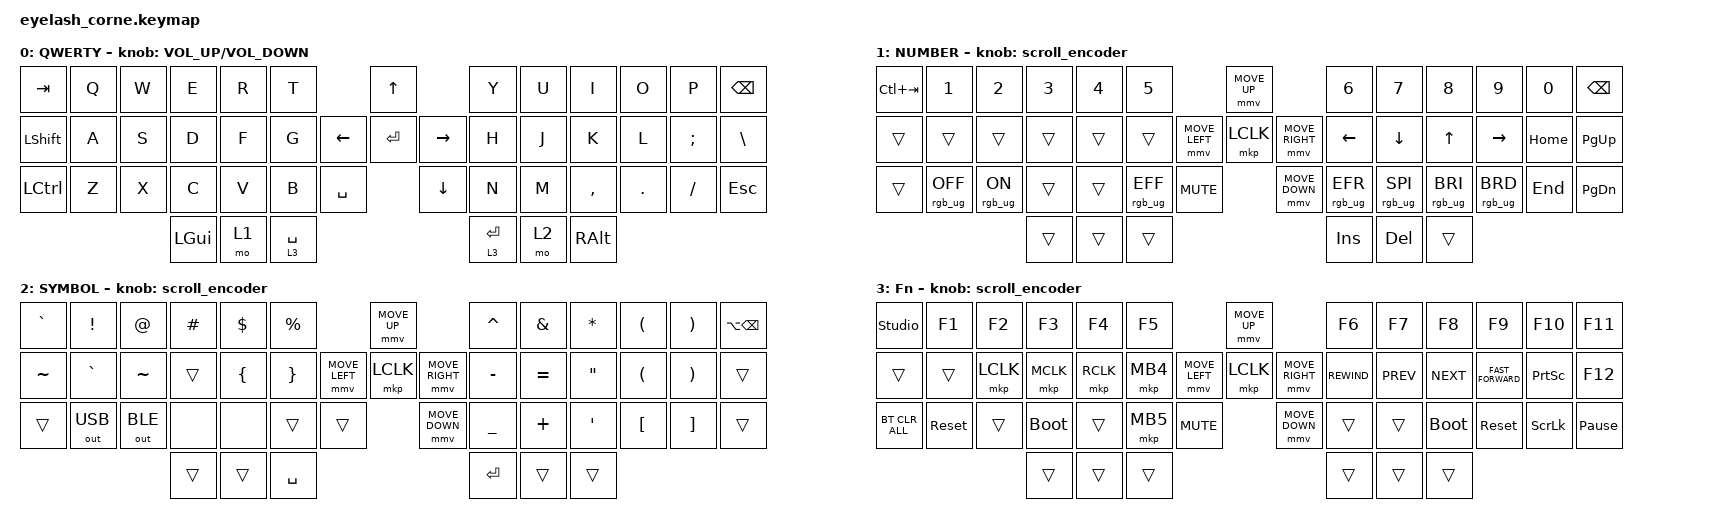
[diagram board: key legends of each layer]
#include <dt-bindings/zmk/mouse.h>
#include <input/processors.dtsi>
#include <behaviors.dtsi>
#include <dt-bindings/zmk/bt.h>
#include <dt-bindings/zmk/keys.h>
#include <dt-bindings/zmk/outputs.h>
#include <dt-bindings/zmk/pointing.h>
#include <dt-bindings/zmk/rgb.h>

/*

   &mmv_input_listener {
       input-processors = <&zip_xy_scaler 2 1>;
   };

   &msc_input_listener {
       input-processors = <&zip_xy_scaler 2 1>;
   };

 */

#define ZMK_MOUSE_DEFAULT_MOVE_VAL 1200  // 600
#define ZMK_MOUSE_DEFAULT_SCRL_VAL 20    // 10

/ {
    behaviors {
        td0: td0 {
            compatible = "zmk,behavior-tap-dance";
            display-name = "Shift/Caps Lock Tap Dance";
            #binding-cells = <0>;
            bindings = <&kp LEFT_SHIFT>, <&kp CAPS>;
        };
    };

    rgb_encoder: rgb_encoder {
        compatible = "zmk,behavior-sensor-rotate";
        #sensor-binding-cells = <0>;
        bindings = <&rgb_ug RGB_BRI>, <&rgb_ug RGB_BRD>;
    };

    scroll_encoder: scroll_encoder {
        compatible = "zmk,behavior-sensor-rotate";
        #sensor-binding-cells = <0>;
        bindings = <&msc SCRL_DOWN>, <&msc SCRL_UP>;

        tap-ms = <30>;
    };

    keymap {
        compatible = "zmk,keymap";

        default_layer {
            display-name = "QWERTY";
            bindings = <
&kp TAB         &kp Q  &kp W  &kp E     &kp R  &kp T                               &kp UP                &kp Y        &kp U  &kp I      &kp O    &kp P      &kp BSPC
&kp LEFT_SHIFT  &kp A  &kp S  &kp D     &kp F  &kp G                     &kp LEFT  &kp ENTER  &kp RIGHT  &kp H        &kp J  &kp K      &kp L    &kp SEMI   &kp BACKSLASH
&kp LCTRL       &kp Z  &kp X  &kp C     &kp V  &kp B        &kp SPACE              &kp DOWN              &kp N        &kp M  &kp COMMA  &kp DOT  &kp SLASH  &kp ESC
                              &kp LGUI  &mo 1  &lt 3 SPACE                                               &lt 3 ENTER  &mo 2  &kp RALT
            >;

            sensor-bindings = <&inc_dec_kp C_VOLUME_UP C_VOLUME_DOWN>;
        };

        lower_layer {
            display-name = "NUMBER";
            bindings = <
&kp LC(TAB)  &kp N1           &kp N2          &kp N3  &kp N4  &kp N5                                         &mmv MOVE_UP                     &kp N6           &kp N7           &kp N8           &kp N9           &kp N0    &kp BSPC
&trans       &trans           &trans          &trans  &trans  &trans                         &mmv MOVE_LEFT  &mkp LCLK       &mmv MOVE_RIGHT  &kp LEFT         &kp DOWN         &kp UP           &kp RIGHT        &kp HOME  &kp PG_UP
&trans       &rgb_ug RGB_OFF  &rgb_ug RGB_ON  &trans  &trans  &rgb_ug RGB_EFF  &kp C_MUTE                    &mmv MOVE_DOWN                   &rgb_ug RGB_EFR  &rgb_ug RGB_SPI  &rgb_ug RGB_BRI  &rgb_ug RGB_BRD  &kp END   &kp PG_DN
                                              &trans  &trans  &trans                                                                          &kp INS          &kp DEL          &trans
            >;

            sensor-bindings = <&scroll_encoder>;
        };

        raise_layer {
            display-name = "SYMBOL";
            bindings = <
&kp GRAVE  &kp EXCL      &kp AT        &kp HASH  &kp DLLR        &kp PRCNT                                  &mmv MOVE_UP                     &kp CARET  &kp AMPS   &kp ASTRK          &kp LPAR          &kp RPAR           &kp LA(BACKSPACE)
&kp TILDE  &kp GRAVE     &kp TILDE     &trans    &kp LEFT_BRACE  &kp RIGHT_BRACE            &mmv MOVE_LEFT  &mkp LCLK       &mmv MOVE_RIGHT  &kp MINUS  &kp EQUAL  &kp DOUBLE_QUOTES  &kp LPAR          &kp RPAR           &trans
&trans     &out OUT_USB  &out OUT_BLE  &none     &none           &trans           &trans                    &mmv MOVE_DOWN                   &kp UNDER  &kp PLUS   &kp SINGLE_QUOTE   &kp LEFT_BRACKET  &kp RIGHT_BRACKET  &trans
                                       &trans    &trans          &kp SPACE                                                                   &kp RET    &trans     &trans
            >;

            sensor-bindings = <&scroll_encoder>;
        };

        layer_3 {
            display-name = "Fn";
            bindings = <
&studio_unlock  &kp F1      &kp F2     &kp F3       &kp F4     &kp F5                                  &mmv MOVE_UP                     &kp F6        &kp F7      &kp F8       &kp F9              &kp F10          &kp F11
&trans          &trans      &mkp LCLK  &mkp MCLK    &mkp RCLK  &mkp MB4                &mmv MOVE_LEFT  &mkp LCLK       &mmv MOVE_RIGHT  &kp C_REWIND  &kp C_PREV  &kp C_NEXT   &kp C_FAST_FORWARD  &kp PRINTSCREEN  &kp F12
&bt BT_CLR_ALL  &sys_reset  &trans     &bootloader  &trans     &mkp MB5  &kp C_MUTE                    &mmv MOVE_DOWN                   &trans        &trans      &bootloader  &sys_reset          &kp SCROLLLOCK   &kp PAUSE_BREAK
                                       &trans       &trans     &trans                                                                   &trans        &trans      &trans
            >;

            sensor-bindings = <&scroll_encoder>;
        };
    };
};
